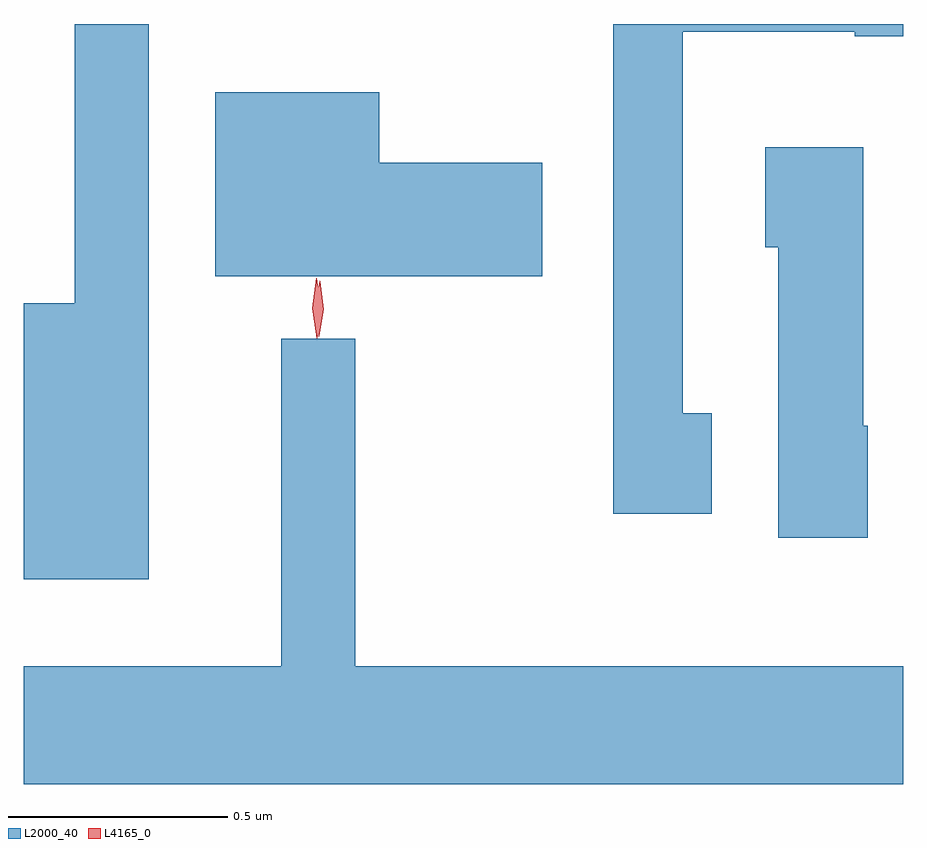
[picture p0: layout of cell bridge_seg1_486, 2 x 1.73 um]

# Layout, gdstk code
import gdstk
lib = gdstk.Library(unit=1e-6, precision=1e-09)
def P(c, l, *ps):  # polygons
    for p in ps: c.add(gdstk.Polygon(p, *l))
L2000_40 = (2000, 40)
L4165_0 = (4165, 0)

bridge_seg1_486 = lib.new_cell('bridge_seg1_486')
P(bridge_seg1_486, L2000_40, [(389.409,849.359),(389.344,849.359),(389.344,850.226),(389.735,850.226),(389.735,850.216),(389.845,850.216),(389.845,850.244),(389.186,850.244),(389.186,849.131),(389.409,849.131)],
  [(388.129,850.244),(387.961,850.244),(387.961,849.609),(387.845,849.609),(387.845,848.981),(388.129,848.981)],
  [(389.024,849.929),(388.654,849.929),(388.654,850.089),(388.281,850.089),(388.281,849.671),(389.024,849.671)],
  [(389.764,849.33),(389.754,849.33),(389.754,849.964),(389.531,849.964),(389.531,849.736),(389.561,849.736),(389.561,849.076),(389.764,849.076)],
  [(389.845,848.784),(388.599,848.784),(388.599,849.528),(388.431,849.528),(388.431,848.784),(387.845,848.784),(387.845,848.516),(389.845,848.516)])
P(bridge_seg1_486, L4165_0, [(388.516,849.533),(388.516,849.534),(388.507,849.597),(388.518,849.659),(388.518,849.66),(388.519,849.659),(388.527,849.596),(388.517,849.534)],
  [(388.511,849.53),(388.511,849.53),(388.501,849.598),(388.51,849.666),(388.511,849.666),(388.511,849.666),(388.521,849.598),(388.512,849.53)])

lib.write_gds('bridge_seg1_486.gds')
